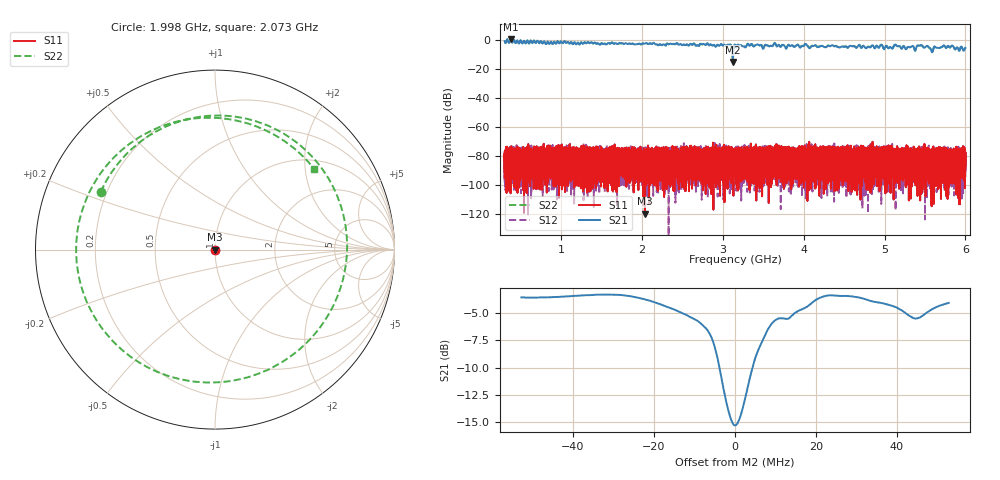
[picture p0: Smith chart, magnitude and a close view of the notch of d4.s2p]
!Agilent Technologies,N5230C,SG49000117,A.08.50.07
!Agilent N5230C: A.08.50.07
!Date: Sunday, March 17, 2024 01:30:38
!Correction: S11(Off)
!S21(Off)
!S12(Off)
!S22(Off)
!S2P File: Measurements: S11, S21, S12, S22:
# Hz S  RI  R 50
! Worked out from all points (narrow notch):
!   20001 points, 300 MHz to 6 GHz, reference 50 ohm
!   highest |S21| = 0.46 dB at 373.5 MHz (marker M1); lowest = -15.3 dB at 3.123 GHz (marker M2)
!   notch at M2: 11.7 dB deep, 8.83 MHz wide at half that depth
!   lowest |S11| = -119.9 dB at 2.035 GHz (marker M3), VSWR 1.00, Z = 50 + j6.85e-06 ohm
!   |S11| at or under -10 dB: start of sweep to end of sweep
!   |S22| runs from -15.3 to 0.5 dB; largest |S21 - S12| = 1.1
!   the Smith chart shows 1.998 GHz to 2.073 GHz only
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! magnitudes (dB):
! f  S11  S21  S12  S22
! 300 MHz  -91.2  -1.0  -95.6  -0.9
! 373.5 MHz  -80.9  0.5  -77.5  0.5
! 1.25 GHz  -82.6  -1.7  -83.5  -1.7
! 2.035 GHz  -119.9  -2.6  -80.5  -2.6
! 2.2 GHz  -90.3  -3.8  -82.3  -3.8
! 3.075 GHz  -86.3  -3.6  -83.6  -3.5
! 3.123 GHz  -89.0  -15.3  -80.2  -15.3
! 3.15 GHz  -77.5  -3.4  -76.3  -3.4
! 3.169 GHz  -81.7  -5.3  -80.5  -5.3
! 3.265 GHz  -89.7  -4.6  -80.5  -4.5
! 3.331 GHz  -85.4  -4.2  -80.2  -4.1
! 3.487 GHz  -85.1  -4.7  -88.1  -4.7
! 3.637 GHz  -79.1  -2.4  -90.5  -2.3
! 4.1 GHz  -78.3  -4.2  -84.8  -4.1
! 5.05 GHz  -78.7  -5.8  -100.3  -5.8
! 5.142 GHz  -87.5  -3.7  -77.4  -3.7
! 5.377 GHz  -82.0  -7.6  -82.6  -7.6
! 5.436 GHz  -85.1  -4.0  -80.4  -4.0
! 5.538 GHz  -80.7  -4.6  -84.1  -4.6
! 5.578 GHz  -78.0  -7.7  -81.4  -7.7
! 5.723 GHz  -89.9  -4.4  -77.6  -4.4
! 6 GHz  -86.5  -5.5  -85.8  -5.6
